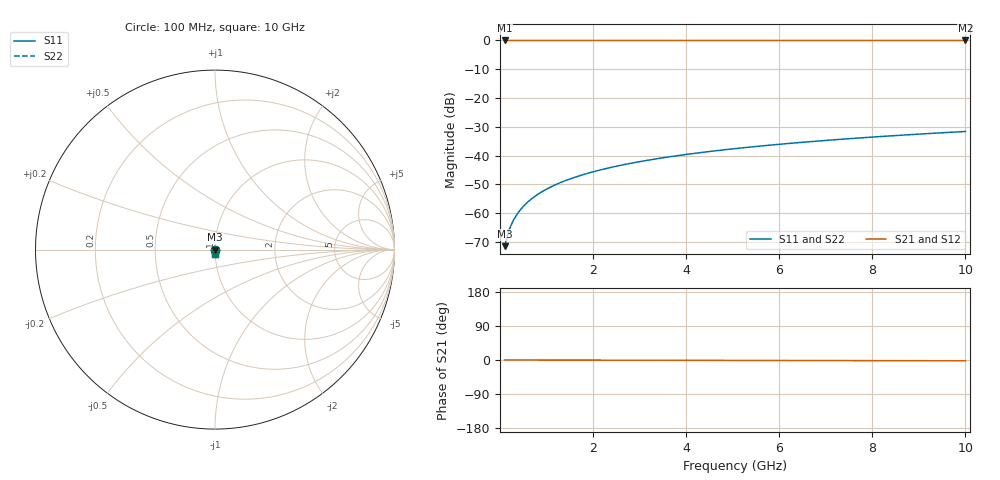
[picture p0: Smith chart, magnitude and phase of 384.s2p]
# Hz S RI R 50.00
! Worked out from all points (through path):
!   100 points, 100 MHz to 10 GHz, reference 50 ohm
!   highest |S21| = 0.00 dB at 100 MHz (marker M1); lowest = 0.0 dB at 10 GHz (marker M2)
!   lowest |S11| = -71.5 dB at 100 MHz (marker M3), VSWR 1.00, Z = 50 - j0.0262 ohm
!   |S11| at or under -10 dB: start of sweep to end of sweep
!   |S22| runs from -71.5 to -31.6 dB; largest |S21 - S12| = 0
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1e8  5.64e-05 -0.000262  0.9999 -0.000371  0.9999 -0.000371  5.64e-05 -0.000262
2e8  5.62e-05 -0.000523  0.9999 -0.000743  0.9999 -0.000743  5.62e-05 -0.000523
3e8  5.57e-05 -0.000785  0.9999 -0.00111  0.9999 -0.00111  5.57e-05 -0.000785
4e8  5.49e-05 -0.00105  0.9999 -0.00149  0.9999 -0.00149  5.49e-05 -0.00105
5e8  5.39e-05 -0.00131  0.9999 -0.00186  0.9999 -0.00186  5.39e-05 -0.00131
6e8  5.27e-05 -0.00157  0.9999 -0.00223  0.9999 -0.00223  5.27e-05 -0.00157
7e8  5.13e-05 -0.00183  0.9999 -0.0026  0.9999 -0.0026  5.13e-05 -0.00183
8e8  4.97e-05 -0.00209  0.9999 -0.00297  0.9999 -0.00297  4.97e-05 -0.00209
9e8  4.79e-05 -0.00235  0.9999 -0.00334  0.9999 -0.00334  4.79e-05 -0.00235
1.1e9  4.37e-05 -0.00288  0.9999 -0.00409  0.9999 -0.00409  4.37e-05 -0.00288
1.4e9  3.58e-05 -0.00366  0.9999 -0.0052  0.9999 -0.0052  3.58e-05 -0.00366
1.8e9  2.25e-05 -0.00471  0.9999 -0.00669  0.9999 -0.00669  2.25e-05 -0.00471
2.1e9  1.05e-05 -0.0055  0.9999 -0.0078  0.9999 -0.0078  1.05e-05 -0.0055
2.5e9  -8.24e-06 -0.00654  0.9999 -0.00929  0.9999 -0.00929  -8.24e-06 -0.00654
2.9e9  -3.02e-05 -0.00759  0.9998 -0.0108  0.9998 -0.0108  -3.02e-05 -0.00759
3.4e9  -6.19e-05 -0.0089  0.9998 -0.0126  0.9998 -0.0126  -6.19e-05 -0.0089
4.2e9  -0.000123 -0.011  0.9997 -0.0156  0.9997 -0.0156  -0.000123 -0.011
5.1e9  -0.000207 -0.0134  0.9997 -0.019  0.9997 -0.019  -0.000207 -0.0134
5.9e9  -0.000295 -0.0155  0.9996 -0.0219  0.9996 -0.0219  -0.000295 -0.0155
6.7e9  -0.000395 -0.0176  0.9994 -0.0249  0.9994 -0.0249  -0.000395 -0.0176
8.4e9  -0.00065 -0.022  0.9992 -0.0313  0.9992 -0.0313  -0.00065 -0.022
1e10  -0.000943 -0.0262  0.9989 -0.0373  0.9989 -0.0373  -0.000943 -0.0262
